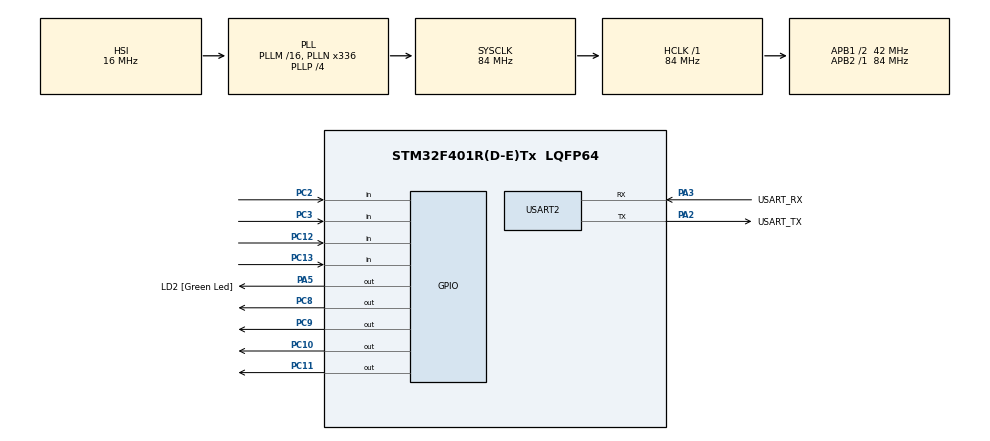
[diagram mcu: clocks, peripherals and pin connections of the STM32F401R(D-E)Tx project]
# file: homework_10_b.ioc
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Mcu.Family=STM32F4
Mcu.Name=STM32F401R(D-E)Tx
Mcu.Package=LQFP64
NVIC.PriorityGroup=NVIC_PRIORITYGROUP_0
NVIC.TIM1_UP_TIM10_IRQn=true\:0\:0\:false\:false\:true\:true\:true\:true
PA13.GPIO_Label=TMS
PA13.Mode=Serial_Wire
PA13.Signal=SYS_JTMS-SWDIO
PA14.GPIO_Label=TCK
PA14.Mode=Serial_Wire
PA14.Signal=SYS_JTCK-SWCLK
PA2.GPIO_Label=USART_TX
PA2.GPIO_Mode=GPIO_MODE_AF_PP
PA2.GPIO_PuPd=GPIO_NOPULL
PA2.GPIO_Speed=GPIO_SPEED_FREQ_LOW
PA2.Mode=Asynchronous
PA2.Signal=USART2_TX
PA3.GPIO_Label=USART_RX
PA3.GPIO_Mode=GPIO_MODE_AF_PP
PA3.GPIO_PuPd=GPIO_NOPULL
PA3.GPIO_Speed=GPIO_SPEED_FREQ_LOW
PA3.Mode=Asynchronous
PA3.Signal=USART2_RX
PA5.GPIO_Label=LD2 [Green Led]
PA5.GPIO_Mode=GPIO_MODE_OUTPUT_PP
PA5.GPIO_PuPd=GPIO_NOPULL
PA5.GPIO_Speed=GPIO_SPEED_FREQ_LOW
PA5.Signal=GPIO_Output
PB3.GPIO_Label=SWO
PB3.Signal=SYS_JTDO-SWO
PC10.Signal=GPIO_Output
PC11.Signal=GPIO_Output
PC12.Signal=GPIO_Input
PC13-ANTI_TAMP.Signal=GPIO_Input
PC14-OSC32_IN.Mode=LSE-External-Oscillator
PC14-OSC32_IN.Signal=RCC_OSC32_IN
PC15-OSC32_OUT.Mode=LSE-External-Oscillator
PC15-OSC32_OUT.Signal=RCC_OSC32_OUT
PC2.Signal=GPIO_Input
PC3.Signal=GPIO_Input
PC8.Signal=GPIO_Output
PC9.Signal=GPIO_Output
PH0\ -\ OSC_IN.Mode=HSE-External-Clock-Source
PH0\ -\ OSC_IN.Signal=RCC_OSC_IN
PH1\ -\ OSC_OUT.Mode=HSE-External-Clock-Source
PH1\ -\ OSC_OUT.Signal=RCC_OSC_OUT
ProjectManager.HeapSize=0x200
ProjectManager.StackSize=0x400
ProjectManager.TargetToolchain=STM32CubeIDE
RCC.48MHZClocksFreq_Value=48000000
RCC.AHBFreq_Value=84000000
RCC.APB1CLKDivider=RCC_HCLK_DIV2
RCC.APB1Freq_Value=42000000
RCC.APB1TimFreq_Value=84000000
RCC.APB2Freq_Value=84000000
RCC.APB2TimFreq_Value=84000000
RCC.CortexFreq_Value=84000000
RCC.HCLKFreq_Value=84000000
RCC.HSE_VALUE=8000000
RCC.HSI_VALUE=16000000
RCC.PLLN=336
RCC.PLLP=RCC_PLLP_DIV4
RCC.PLLQ=7
RCC.SYSCLKFreq_VALUE=84000000
RCC.SYSCLKSource=RCC_SYSCLKSOURCE_PLLCLK
RCC.VCOOutputFreq_Value=336000000
TIM10.Period=41999
TIM10.Prescaler=9
USART2.VirtualMode=VM_ASYNC
VP_TIM10_VS_ClockSourceINT.Mode=Enable_Timer
board=NUCLEO-F401RE

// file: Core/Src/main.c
/* USER CODE BEGIN Header */
/**
  ******************************************************************************
  * @file           : main.c
  * @brief          : Main program body
  ******************************************************************************
  * @attention
  *
  * Copyright (c) 2022 STMicroelectronics.
  * All rights reserved.
  *
  * This software is licensed under terms that can be found in the LICENSE file
  * in the root directory of this software component.
  * If no LICENSE file comes with this software, it is provided AS-IS.
  *
  ******************************************************************************
  */
/* USER CODE END Header */
#include "main.h"

TIM_HandleTypeDef htim10;

UART_HandleTypeDef huart2;

/* USER CODE BEGIN PV */
// All of the rows
uint16_t row[4] = {GPIO_PIN_12, GPIO_PIN_13, GPIO_PIN_2, GPIO_PIN_3};
// All of the columns
uint16_t col[4] = {GPIO_PIN_8, GPIO_PIN_9, GPIO_PIN_10, GPIO_PIN_11};
// The buttons being pressed in button[0], 1 for not pressed, 0 for pressed
// Every button has it's own counter in button[1]
uint8_t button[2][4][4] = {{{0, 0}, {0, 0}, {0, 0}, {0, 0}},
				    	   {{0, 0}, {0, 0}, {0, 0}, {0, 0}},
						   {{0, 0}, {0, 0}, {0, 0}, {0, 0}},
						   {{0, 0}, {0, 0}, {0, 0}, {0, 0}}};
// Previous buttons being pressed, 1 for not pressed before, 0 for pressed before
uint8_t old_button[4][4] = {{0, 0, 0, 0},
  	  	  	  	  	  	    {0, 0, 0, 0},
						    {0, 0, 0, 0},
							{0, 0, 0, 0}};
// String for characters
char character[4][4] = {"0123", "4567", "89AB", "CDEF"};
// Index variables for columns
uint8_t k = 0;

/* USER CODE END PV */

void SystemClock_Config(void);
static void MX_GPIO_Init(void);
static void MX_USART2_UART_Init(void);
static void MX_TIM10_Init(void);

/* USER CODE BEGIN 0 */
void HAL_TIM_PeriodElapsedCallback(TIM_HandleTypeDef* calling_timer){
	// When the Timer10 interrupt is called every 5 ms
	if(calling_timer == &htim10) {
		for(int i = 0; i < 4; i++) {
			// Reading and storing all the rows in the column one at a time
			button[0][k][i] = HAL_GPIO_ReadPin(GPIOC, row[i]);
		}
		// Resetting all the columns one at a time
		HAL_GPIO_WritePin(GPIOC, col[k], GPIO_PIN_RESET);
		for(int i = 0; i < 4; i++) {
			// When a button has been pressed for more than one iteration
			if(button[0][k][i] == 0 && old_button[k][i] == 0) {
				// Increment the button-specific counter
				button[1][k][i]++;
			}
			else {
				// Reset the button-specific counter
				button[1][k][i] = 0;
			}
			// Storing the previous statement for pressed button for timing
			old_button[k][i] = button[0][k][i];
		}
		// When the last column has been reached
		if(k == 3){
			// Go back to the first column
			k = 0;
		}
		else {
			// Go to the next column
			k++;
		}
		// Setting all the columns one at a time
		HAL_GPIO_WritePin(GPIOC, col[k], GPIO_PIN_SET);
	}
}
/* USER CODE END 0 */

int main(void)
{

  /* MCU Configuration--------------------------------------------------------*/

  /* Reset of all peripherals, Initializes the Flash interface and the Systick. */
  HAL_Init();

  /* Configure the system clock */
  SystemClock_Config();

  /* Initialize all configured peripherals */
  MX_GPIO_Init();
  MX_USART2_UART_Init();
  MX_TIM10_Init();
  /* USER CODE BEGIN 2 */
  // Start the Timer10 interrupt
  HAL_TIM_Base_Start_IT(&htim10);
  // Setting the first column
  HAL_GPIO_WritePin(GPIOC, col[0], GPIO_PIN_SET);
  /* USER CODE END 2 */

  /* Infinite loop */
  while (1)
  {

    /* USER CODE BEGIN 3 */
	  for(int j = 0; j < 4; j++) {
		  for(int i = 0; i < 4; i++) {
			  // When a button has been pressed for 1 s (Timer10 interrupt is set to 5 ms for every column, thereby 1000 ms / (4 * 5 ms) = 50)
			  if(button[1][j][i] >= 50) {
				  // Send the character every second
				  HAL_UART_Transmit(&huart2, &character[i][j], 1, 10);
				  // Reset the button-specific counter
				  button[1][j][i] = 0;
			  }
		  }
	  }
  }
  /* USER CODE END 3 */
}

void SystemClock_Config(void)
{
  RCC_OscInitTypeDef RCC_OscInitStruct = {0};
  RCC_ClkInitTypeDef RCC_ClkInitStruct = {0};

  /** Configure the main internal regulator output voltage
  */
  __HAL_RCC_PWR_CLK_ENABLE();
  __HAL_PWR_VOLTAGESCALING_CONFIG(PWR_REGULATOR_VOLTAGE_SCALE2);

  /** Initializes the RCC Oscillators according to the specified parameters
  * in the RCC_OscInitTypeDef structure.
  */
  RCC_OscInitStruct.OscillatorType = RCC_OSCILLATORTYPE_HSI;
  RCC_OscInitStruct.HSIState = RCC_HSI_ON;
  RCC_OscInitStruct.HSICalibrationValue = RCC_HSICALIBRATION_DEFAULT;
  RCC_OscInitStruct.PLL.PLLState = RCC_PLL_ON;
  RCC_OscInitStruct.PLL.PLLSource = RCC_PLLSOURCE_HSI;
  RCC_OscInitStruct.PLL.PLLM = 16;
  RCC_OscInitStruct.PLL.PLLN = 336;
  RCC_OscInitStruct.PLL.PLLP = RCC_PLLP_DIV4;
  RCC_OscInitStruct.PLL.PLLQ = 7;
  if (HAL_RCC_OscConfig(&RCC_OscInitStruct) != HAL_OK)
  {
    Error_Handler();
  }

  /** Initializes the CPU, AHB and APB buses clocks
  */
  RCC_ClkInitStruct.ClockType = RCC_CLOCKTYPE_HCLK|RCC_CLOCKTYPE_SYSCLK
                              |RCC_CLOCKTYPE_PCLK1|RCC_CLOCKTYPE_PCLK2;
  RCC_ClkInitStruct.SYSCLKSource = RCC_SYSCLKSOURCE_PLLCLK;
  RCC_ClkInitStruct.AHBCLKDivider = RCC_SYSCLK_DIV1;
  RCC_ClkInitStruct.APB1CLKDivider = RCC_HCLK_DIV2;
  RCC_ClkInitStruct.APB2CLKDivider = RCC_HCLK_DIV1;

  if (HAL_RCC_ClockConfig(&RCC_ClkInitStruct, FLASH_LATENCY_2) != HAL_OK)
  {
    Error_Handler();
  }
}

static void MX_TIM10_Init(void)
{

  htim10.Instance = TIM10;
  htim10.Init.Prescaler = 9;
  htim10.Init.CounterMode = TIM_COUNTERMODE_UP;
  htim10.Init.Period = 41999;
  htim10.Init.ClockDivision = TIM_CLOCKDIVISION_DIV1;
  htim10.Init.AutoReloadPreload = TIM_AUTORELOAD_PRELOAD_DISABLE;
  if (HAL_TIM_Base_Init(&htim10) != HAL_OK)
  {
    Error_Handler();
  }

}

static void MX_USART2_UART_Init(void)
{

  huart2.Instance = USART2;
  huart2.Init.BaudRate = 115200;
  huart2.Init.WordLength = UART_WORDLENGTH_8B;
  huart2.Init.StopBits = UART_STOPBITS_1;
  huart2.Init.Parity = UART_PARITY_NONE;
  huart2.Init.Mode = UART_MODE_TX_RX;
  huart2.Init.HwFlowCtl = UART_HWCONTROL_NONE;
  huart2.Init.OverSampling = UART_OVERSAMPLING_16;
  if (HAL_UART_Init(&huart2) != HAL_OK)
  {
    Error_Handler();
  }

}

static void MX_GPIO_Init(void)
{
  GPIO_InitTypeDef GPIO_InitStruct = {0};

  /* GPIO Ports Clock Enable */
  __HAL_RCC_GPIOC_CLK_ENABLE();
  __HAL_RCC_GPIOH_CLK_ENABLE();
  __HAL_RCC_GPIOA_CLK_ENABLE();
  __HAL_RCC_GPIOB_CLK_ENABLE();

  /*Configure GPIO pin Output Level */
  HAL_GPIO_WritePin(LD2_GPIO_Port, LD2_Pin, GPIO_PIN_RESET);

  /*Configure GPIO pin Output Level */
  HAL_GPIO_WritePin(GPIOC, GPIO_PIN_8|GPIO_PIN_9|GPIO_PIN_10|GPIO_PIN_11, GPIO_PIN_RESET);

  /*Configure GPIO pins : PC13 PC2 PC3 PC12 */
  GPIO_InitStruct.Pin = GPIO_PIN_13|GPIO_PIN_2|GPIO_PIN_3|GPIO_PIN_12;
  GPIO_InitStruct.Mode = GPIO_MODE_INPUT;
  GPIO_InitStruct.Pull = GPIO_NOPULL;
  HAL_GPIO_Init(GPIOC, &GPIO_InitStruct);

  /*Configure GPIO pin : LD2_Pin */
  GPIO_InitStruct.Pin = LD2_Pin;
  GPIO_InitStruct.Mode = GPIO_MODE_OUTPUT_PP;
  GPIO_InitStruct.Pull = GPIO_NOPULL;
  GPIO_InitStruct.Speed = GPIO_SPEED_FREQ_LOW;
  HAL_GPIO_Init(LD2_GPIO_Port, &GPIO_InitStruct);

  /*Configure GPIO pins : PC8 PC9 PC10 PC11 */
  GPIO_InitStruct.Pin = GPIO_PIN_8|GPIO_PIN_9|GPIO_PIN_10|GPIO_PIN_11;
  GPIO_InitStruct.Mode = GPIO_MODE_OUTPUT_PP;
  GPIO_InitStruct.Pull = GPIO_NOPULL;
  GPIO_InitStruct.Speed = GPIO_SPEED_FREQ_LOW;
  HAL_GPIO_Init(GPIOC, &GPIO_InitStruct);

}

void Error_Handler(void)
{
  __disable_irq();
  while (1)
  {
  }
}
